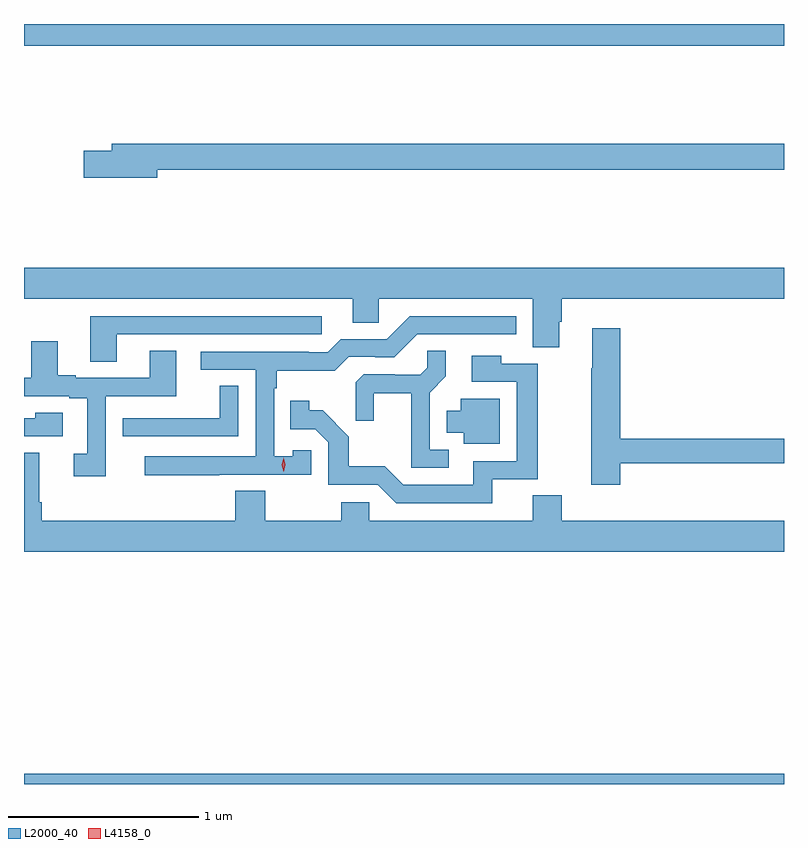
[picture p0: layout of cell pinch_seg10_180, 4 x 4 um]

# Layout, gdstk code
import gdstk
lib = gdstk.Library(unit=1e-6, precision=1e-09)
def R(c, l, rs):  # rectangles x0, y0, x1, y1
    for r in rs: c.add(gdstk.rectangle(r[:2], r[2:], *l))
def P(c, l, *ps):  # polygons
    for p in ps: c.add(gdstk.Polygon(p, *l))
L2000_40 = (2000, 40)
L4158_0 = (4158, 0)

pinch_seg10_180 = lib.new_cell('pinch_seg10_180')
R(pinch_seg10_180, L2000_40, [(694.492,1265.794,698.492,1265.848), (694.492,1269.68,698.492,1269.794)])
P(pinch_seg10_180, L2000_40, [(695.194,1269.028),(698.492,1269.028),(698.492,1269.164),(694.955,1269.164),(694.955,1269.128),(694.806,1269.128),(694.806,1268.986),(695.194,1268.986)],
  [(697.309,1268.226),(697.322,1268.226),(697.322,1268.348),(698.492,1268.348),(698.492,1268.512),(694.492,1268.512),(694.492,1268.348),(696.221,1268.348),(696.221,1268.221),(696.36,1268.221),(696.36,1268.348),(697.169,1268.348),(697.169,1268.092),(697.309,1268.092)],
  [(694.981,1268.16),(696.058,1268.16),(696.058,1268.256),(694.841,1268.256),(694.841,1268.017),(694.981,1268.017)],
  [(695.519,1267.422),(696.003,1267.422),(696.003,1267.551),(695.907,1267.551),(695.907,1267.519),(695.808,1267.519),(695.808,1267.877),(695.821,1267.877),(695.821,1267.97),(696.128,1267.97),(696.201,1268.043),(696.34,1268.043),(696.34,1268.04),(696.441,1268.04),(696.561,1268.16),(697.084,1268.16),(697.084,1268.256),(696.522,1268.256),(696.402,1268.136),(696.159,1268.136),(696.09,1268.067),(695.99,1268.067),(695.99,1268.07),(695.421,1268.07),(695.421,1267.974),(695.712,1267.974),(695.712,1267.518),(695.127,1267.518),(695.127,1267.42),(695.519,1267.42)],
  [(697.631,1267.482),(698.492,1267.482),(698.492,1267.61),(697.631,1267.61),(697.631,1268.194),(697.484,1268.194),(697.484,1267.981),(697.477,1267.981),(697.477,1267.368),(697.631,1267.368)],
  [(694.923,1267.836),(695.293,1267.836),(695.293,1268.075),(695.153,1268.075),(695.153,1267.932),(694.765,1267.932),(694.765,1267.945),(694.669,1267.945),(694.669,1268.125),(694.529,1268.125),(694.529,1267.932),(694.492,1267.932),(694.492,1267.836),(694.73,1267.836),(694.73,1267.824),(694.826,1267.824),(694.826,1267.533),(694.755,1267.533),(694.755,1267.413),(694.923,1267.413)],
  [(696.727,1267.554),(696.627,1267.554),(696.627,1267.853),(696.713,1267.939),(696.713,1268.075),(696.615,1268.075),(696.615,1267.984),(696.578,1267.947),(696.444,1267.947),(696.444,1267.95),(696.279,1267.95),(696.238,1267.909),(696.238,1267.707),(696.332,1267.707),(696.332,1267.85),(696.53,1267.85),(696.53,1267.458),(696.727,1267.458)],
  [(696.956,1267.398),(697.195,1267.398),(697.195,1268.007),(697.005,1268.007),(697.005,1268.047),(696.849,1268.047),(696.849,1267.911),(697.086,1267.911),(697.086,1267.494),(696.857,1267.494),(696.857,1267.368),(696.489,1267.368),(696.391,1267.467),(696.202,1267.467),(696.202,1267.622),(696.064,1267.76),(695.994,1267.76),(695.994,1267.81),(695.893,1267.81),(695.893,1267.662),(696.024,1267.662),(696.093,1267.593),(696.093,1267.368),(696.354,1267.368),(696.45,1267.272),(696.956,1267.272)],
  [(695.619,1267.889),(695.521,1267.889),(695.521,1267.719),(695.125,1267.719),(695.125,1267.718),(695.013,1267.718),(695.013,1267.623),(695.619,1267.623)],
  [(696.997,1267.822),(696.791,1267.822),(696.791,1267.759),(696.716,1267.759),(696.716,1267.643),(696.806,1267.643),(696.806,1267.586),(696.997,1267.586)],
  [(694.696,1267.747),(694.551,1267.747),(694.551,1267.719),(694.492,1267.719),(694.492,1267.623),(694.696,1267.623)],
  [(698.492,1267.18),(697.322,1267.18),(697.322,1267.313),(697.169,1267.313),(697.169,1267.18),(696.309,1267.18),(696.309,1267.278),(696.163,1267.278),(696.163,1267.18),(695.763,1267.18),(695.763,1267.337),(695.603,1267.337),(695.603,1267.18),(694.586,1267.18),(694.586,1267.276),(694.573,1267.276),(694.573,1267.537),(694.492,1267.537),(694.492,1267.016),(698.492,1267.016)])
P(pinch_seg10_180, L4158_0, [(695.858,1267.437),(695.858,1267.437),(695.848,1267.474),(695.859,1267.509),(695.859,1267.51),(695.859,1267.509),(695.868,1267.473),(695.858,1267.437)])

lib.write_gds('pinch_seg10_180.gds')
